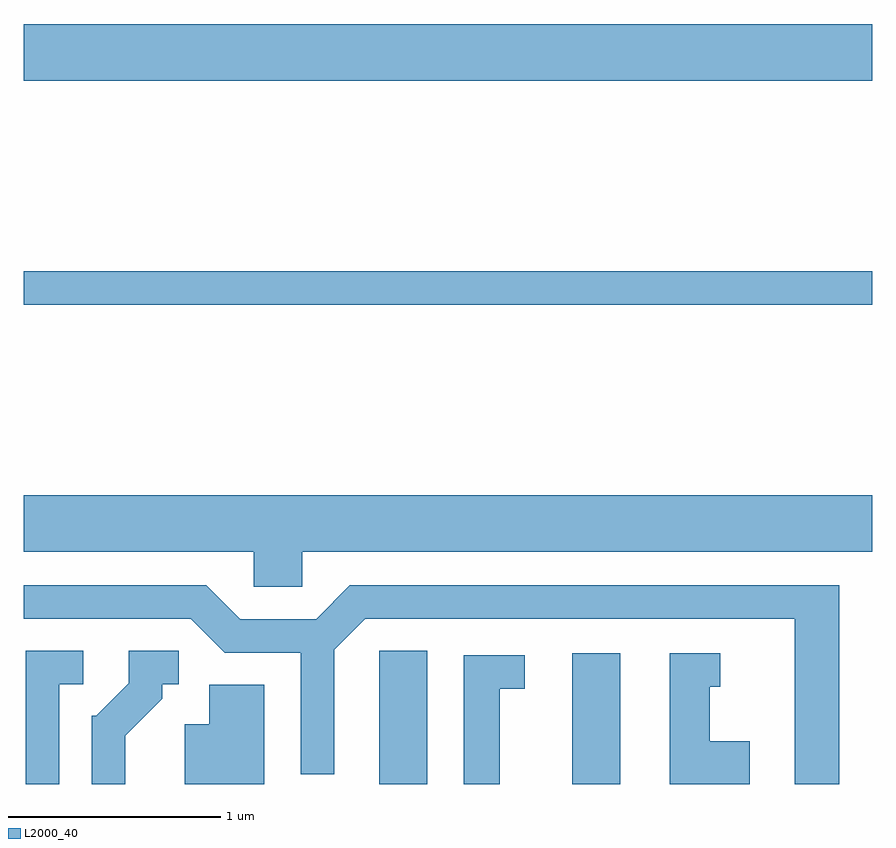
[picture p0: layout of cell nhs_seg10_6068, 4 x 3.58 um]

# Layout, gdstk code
import gdstk
lib = gdstk.Library(unit=1e-6, precision=1e-09)
def R(c, l, rs):  # rectangles x0, y0, x1, y1
    for r in rs: c.add(gdstk.rectangle(r[:2], r[2:], *l))
def P(c, l, *ps):  # polygons
    for p in ps: c.add(gdstk.Polygon(p, *l))
L2000_40 = (2000, 40)

nhs_seg10_6068 = lib.new_cell('nhs_seg10_6068')
R(nhs_seg10_6068, L2000_40, [(365.286,2190.522,365.514,2191.149), (366.196,2190.522,366.424,2191.139), (363.611,2192.781,367.611,2192.939), (363.611,2193.836,367.611,2194.104)])
P(nhs_seg10_6068, L2000_40, [(364.924,2191.616),(367.611,2191.616),(367.611,2191.884),(363.611,2191.884),(363.611,2191.616),(364.696,2191.616),(364.696,2191.451),(364.924,2191.451)],
  [(367.454,2191.459),(365.149,2191.459),(364.989,2191.299),(364.632,2191.299),(364.472,2191.459),(363.611,2191.459),(363.611,2191.301),(364.399,2191.301),(364.559,2191.141),(364.916,2191.141),(364.916,2190.568),(365.074,2190.568),(365.074,2191.154),(365.222,2191.301),(367.246,2191.301),(367.246,2190.522),(367.454,2190.522)],
  [(364.089,2190.749),(364.264,2190.924),(364.264,2190.991),(364.343,2190.991),(364.343,2191.149),(364.106,2191.149),(364.106,2190.997),(363.954,2190.844),(363.931,2190.844),(363.931,2190.522),(364.089,2190.522)],
  [(363.779,2190.991),(363.893,2190.991),(363.893,2191.149),(363.621,2191.149),(363.621,2190.522),(363.779,2190.522)],
  [(367.034,2190.724),(366.844,2190.724),(366.844,2190.981),(366.893,2190.981),(366.893,2191.139),(366.656,2191.139),(366.656,2190.522),(367.034,2190.522)],
  [(365.854,2190.971),(365.973,2190.971),(365.973,2191.129),(365.686,2191.129),(365.686,2190.522),(365.854,2190.522)],
  [(364.744,2190.989),(364.486,2190.989),(364.486,2190.804),(364.371,2190.804),(364.371,2190.522),(364.744,2190.522)])

lib.write_gds('nhs_seg10_6068.gds')
